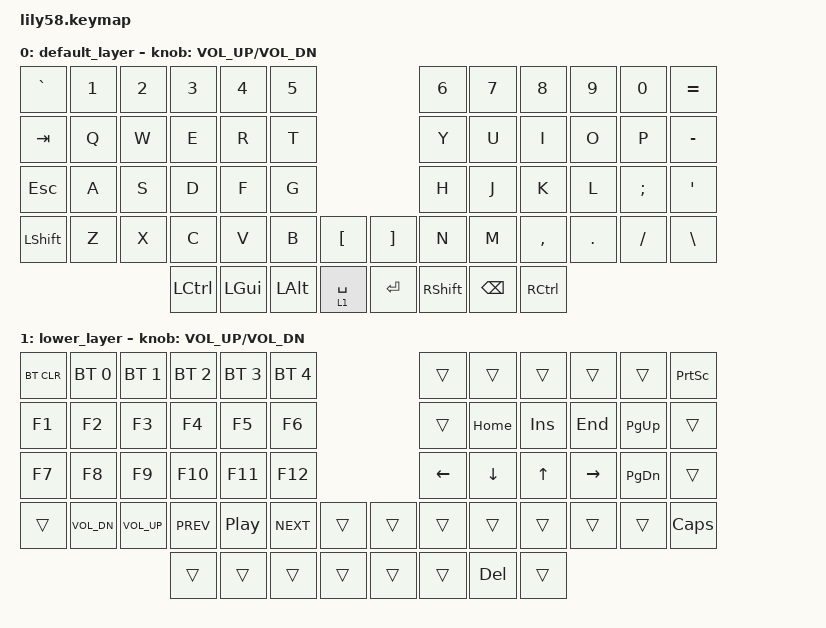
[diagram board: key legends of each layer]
/*
 * Copyright (c) 2020 The ZMK Contributors
 *
 * SPDX-License-Identifier: MIT
 */

#include <behaviors.dtsi>
#include <dt-bindings/zmk/keys.h>
#include <dt-bindings/zmk/bt.h>
#include <dt-bindings/zmk/ext_power.h>

&lt {
    quick_tap_ms = <200>;
};

/ {
	behaviors {
		
	};
	
	keymap {
		compatible = "zmk,keymap";

		default_layer {
// ----------------------------------------------------------------------------------------------------------------
// | `     |  1  |  2  |  3   |  4  |  5  |                        |  6    |  7   |  8   |  9   |   0   |   =   |
// | TAB   |  Q  |  W  |  E   |  R  |  T  |                        |  Y    |  U   |  I   |  O   |   P   |   -   |
// | ESC   |  A  |  S  |  D   |  F  |  G  |                        |  H    |  J   |  K   |  L   |   ;   |   '   |
// | SHIFT |  Z  |  X  |  C   |  V  |  B  |   "["       |  |  "]"  |  N    |  M   |  ,   |  .   |   /   |   \   |
//                     | CTRL | GUI | ALT | LOWER/SPACE |  | ENTER | SHIFT | BSPC | CTRL |
			bindings = <
&kp GRAVE  &kp N1 &kp N2 &kp N3    &kp N4   &kp N5                          &kp N6    &kp N7   &kp N8    &kp N9  &kp N0   &kp EQUAL
&kp TAB    &kp Q  &kp W  &kp E     &kp R    &kp T                           &kp Y     &kp U    &kp I     &kp O   &kp P    &kp MINUS
&kp ESC    &kp A  &kp S  &kp D     &kp F    &kp G                           &kp H     &kp J    &kp K     &kp L   &kp SEMI &kp SQT
&kp LSHFT  &kp Z  &kp X  &kp C     &kp V    &kp B     &kp LBKT     &kp RBKT &kp N     &kp M    &kp COMMA &kp DOT &kp FSLH &kp BSLH
                         &kp LCTRL &kp LGUI &kp LALT  &lt 1 SPACE  &kp RET  &kp RSHFT &kp BSPC &kp RCTRL
			>;

			sensor-bindings = <&inc_dec_kp C_VOL_UP C_VOL_DN>;
		};

		lower_layer {
// --------------------------------------------------------------------------------------------------
// | BTCLR | BT1 | BT2 | BT3 | BT4 | BT5 |                 |        |      |      |     |      | PrScrn |
// |   F1  | F2  | F3  | F4  | F5  | F6  |                 |        | HOME | INS  | END | PgUp |        |
// |   F7  | F8  | F9  | F10 | F11 | F12 |                 |  <-    | v    |  ^   | ->  | PgDn |        |
// |       | 🔈  | 🔊  | ⏪  | ⏯️  | ⏩  |      |  |       |        |      |      |     |      |  CAPS  |
//                           |     |     |      |  |       |        |      | DEL  |     |
			bindings = <
&bt BT_CLR  &bt BT_SEL 0  &bt BT_SEL 1  &bt BT_SEL 2  &bt BT_SEL 3  &bt BT_SEL 4                     &trans    &trans    &trans      &trans     &trans     &kp PSCRN
&kp F1      &kp F2        &kp F3        &kp F4        &kp F5        &kp F6                           &trans    &kp HOME  &kp INSERT  &kp END    &kp PG_UP  &trans
&kp F7      &kp F8        &kp F9        &kp F10       &kp F11       &kp F12                          &kp LEFT  &kp DOWN  &kp UP      &kp RIGHT  &kp PG_DN  &trans
&trans      &kp C_VOL_DN  &kp C_VOL_UP  &kp C_PREV    &kp C_PP      &kp C_NEXT    &trans   &trans    &trans    &trans    &trans      &trans     &trans     &kp CAPS
                                        &trans        &trans        &trans        &trans   &trans     &trans    &kp DEL   &trans
			>;

			sensor-bindings = <&inc_dec_kp C_VOL_UP C_VOL_DN>;
		};
	};
};
